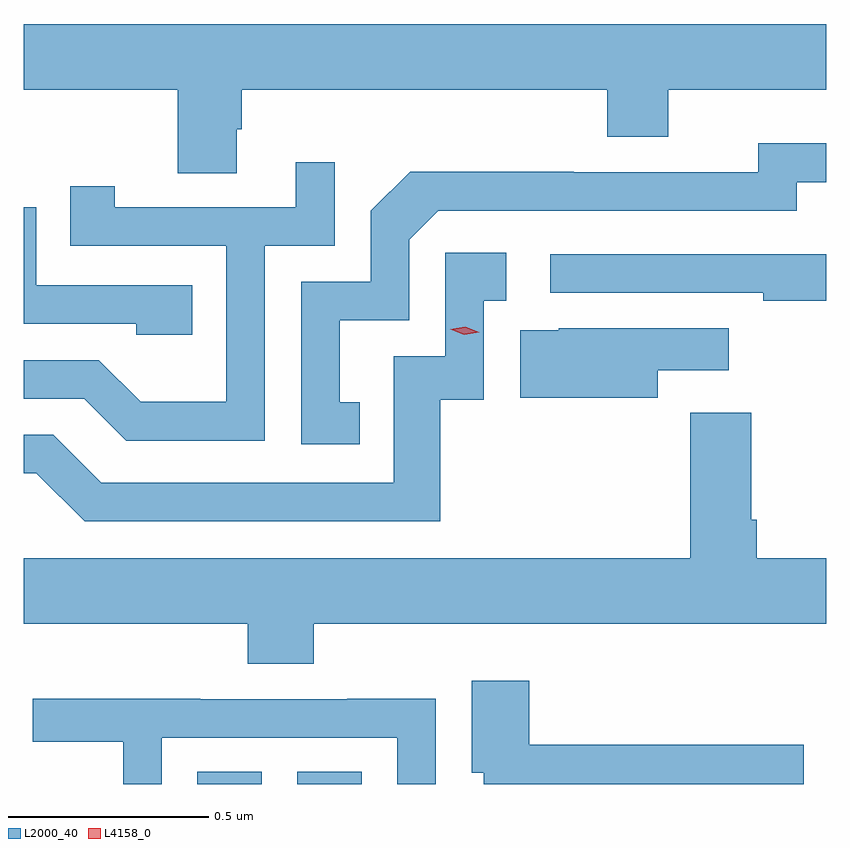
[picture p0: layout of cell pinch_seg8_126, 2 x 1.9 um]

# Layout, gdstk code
import gdstk
lib = gdstk.Library(unit=1e-6, precision=1e-09)
def R(c, l, rs):  # rectangles x0, y0, x1, y1
    for r in rs: c.add(gdstk.rectangle(r[:2], r[2:], *l))
def P(c, l, *ps):  # polygons
    for p in ps: c.add(gdstk.Polygon(p, *l))
L2000_40 = (2000, 40)
L4158_0 = (4158, 0)

pinch_seg8_126 = lib.new_cell('pinch_seg8_126')
R(pinch_seg8_126, L2000_40, [(744.977,1154.729,745.138,1154.759), (745.226,1154.729,745.387,1154.759)])
P(pinch_seg8_126, L2000_40, [(745.075,1156.362),(745.088,1156.362),(745.088,1156.46),(746,1156.46),(746,1156.343),(746.152,1156.343),(746.152,1156.46),(746.545,1156.46),(746.545,1156.624),(744.545,1156.624),(744.545,1156.46),(744.928,1156.46),(744.928,1156.252),(745.075,1156.252)],
  [(745.382,1155.681),(745.333,1155.681),(745.333,1155.885),(745.506,1155.885),(745.506,1156.086),(745.578,1156.158),(746.472,1156.158),(746.472,1156.23),(746.545,1156.23),(746.545,1156.327),(746.376,1156.327),(746.376,1156.254),(745.916,1156.254),(745.916,1156.256),(745.508,1156.256),(745.41,1156.158),(745.41,1155.981),(745.236,1155.981),(745.236,1155.576),(745.382,1155.576)],
  [(745.146,1156.071),(745.32,1156.071),(745.32,1156.279),(745.223,1156.279),(745.223,1156.167),(744.772,1156.167),(744.772,1156.219),(744.661,1156.219),(744.661,1156.071),(745.05,1156.071),(745.05,1155.682),(744.836,1155.682),(744.732,1155.786),(744.545,1155.786),(744.545,1155.69),(744.695,1155.69),(744.8,1155.585),(745.146,1155.585)],
  [(744.965,1155.972),(744.576,1155.972),(744.576,1156.167),(744.545,1156.167),(744.545,1155.876),(744.825,1155.876),(744.825,1155.849),(744.965,1155.849)],
  [(745.583,1155.687),(745.692,1155.687),(745.692,1155.934),(745.747,1155.934),(745.747,1156.054),(745.596,1156.054),(745.596,1155.795),(745.467,1155.795),(745.467,1155.48),(744.738,1155.48),(744.618,1155.6),(744.545,1155.6),(744.545,1155.504),(744.576,1155.504),(744.696,1155.384),(745.583,1155.384)],
  [(746.545,1156.05),(745.857,1156.05),(745.857,1155.954),(746.389,1155.954),(746.389,1155.934),(746.545,1155.934)],
  [(746.125,1155.761),(746.302,1155.761),(746.302,1155.865),(745.878,1155.865),(745.878,1155.861),(745.782,1155.861),(745.782,1155.692),(746.125,1155.692)],
  [(745.268,1155.128),(746.545,1155.128),(746.545,1155.292),(746.372,1155.292),(746.372,1155.388),(746.359,1155.388),(746.359,1155.655),(746.207,1155.655),(746.207,1155.292),(744.545,1155.292),(744.545,1155.128),(745.103,1155.128),(745.103,1155.029),(745.268,1155.029)],
  [(746.489,1154.827),(745.805,1154.827),(745.805,1154.986),(745.661,1154.986),(745.661,1154.757),(745.691,1154.757),(745.691,1154.729),(746.489,1154.729)],
  [(744.888,1154.844),(745.476,1154.844),(745.476,1154.729),(745.572,1154.729),(745.572,1154.942),(745.351,1154.942),(745.351,1154.94),(744.985,1154.94),(744.985,1154.942),(744.567,1154.942),(744.567,1154.834),(744.792,1154.834),(744.792,1154.729),(744.888,1154.729)])
P(pinch_seg8_126, L4158_0, [(745.643,1155.849),(745.608,1155.863),(745.608,1155.863),(745.608,1155.863),(745.645,1155.869),(745.68,1155.855),(745.68,1155.855),(745.68,1155.855)])

lib.write_gds('pinch_seg8_126.gds')
